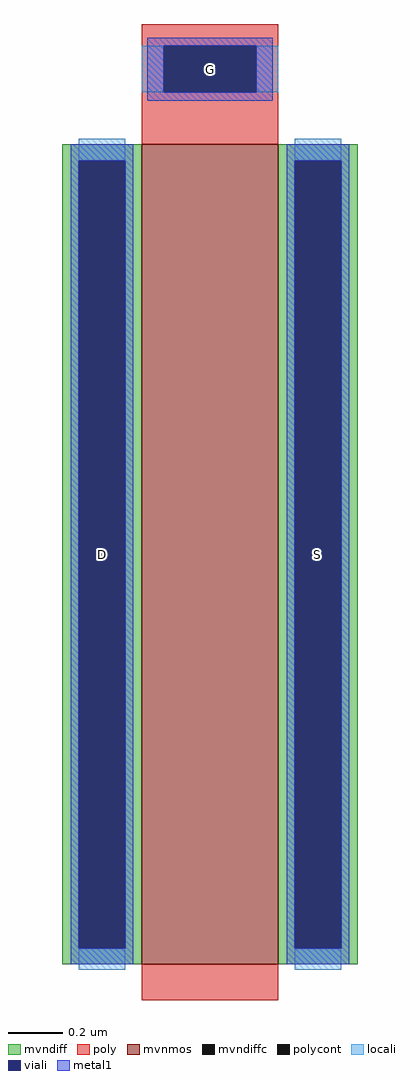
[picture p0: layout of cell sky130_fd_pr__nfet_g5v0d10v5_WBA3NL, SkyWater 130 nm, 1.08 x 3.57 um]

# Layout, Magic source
magic
tech sky130A
magscale 1 2
<< mvnmos >>
rect -50 -331 50 269
<< mvndiff >>
rect -108 257 -50 269
rect -108 -319 -96 257
rect -62 -319 -50 257
rect -108 -331 -50 -319
rect 50 257 108 269
rect 50 -319 62 257
rect 96 -319 108 257
rect 50 -331 108 -319
<< mvndiffc >>
rect -96 -319 -62 257
rect 62 -319 96 257
<< poly >>
rect -50 341 50 357
rect -50 307 -34 341
rect 34 307 50 341
rect -50 269 50 307
rect -50 -357 50 -331
<< polycont >>
rect -34 307 34 341
<< locali >>
rect -50 307 -34 341
rect 34 307 50 341
rect -96 257 -62 273
rect -96 -335 -62 -319
rect 62 257 96 273
rect 62 -335 96 -319
<< viali >>
rect -34 307 34 341
rect -96 -319 -62 257
rect 62 -319 96 257
<< metal1 >>
rect -46 341 46 347
rect -46 307 -34 341
rect 34 307 46 341
rect -46 301 46 307
rect -102 257 -56 269
rect -102 -319 -96 257
rect -62 -319 -56 257
rect -102 -331 -56 -319
rect 56 257 102 269
rect 56 -319 62 257
rect 96 -319 102 257
rect 56 -331 102 -319
<< labels >>
rlabel mvndiffc -79 -31 -79 -31 0 D
port 1 nsew
rlabel mvndiffc 79 -31 79 -31 0 S
port 2 nsew
rlabel polycont 0 324 0 324 0 G
port 3 nsew
<< properties >>
string gencell sky130_fd_pr__nfet_g5v0d10v5
string library sky130
string parameters w 3 l 0.50 m 1 nf 1 diffcov 100 polycov 100 guard 0 glc 1 grc 1 gtc 1 gbc 1 tbcov 100 rlcov 100 topc 1 botc 0 poverlap 0 doverlap 1 lmin 0.50 wmin 0.42 class mosfet compatible {sky130_fd_pr__nfet_01v8 sky130_fd_pr__nfet_01v8_lvt  sky130_fd_bs_flash__special_sonosfet_star  sky130_fd_pr__nfet_g5v0d10v5 sky130_fd_pr__nfet_05v0_nvt  sky130_fd_pr__nfet_03v3_nvt} full_metal 1 conn_gates 0 viasrc 100 viadrn 100 viagate 100 viagb 0 viagr 0 viagl 0 viagt 0 doports 1
<< end >>
